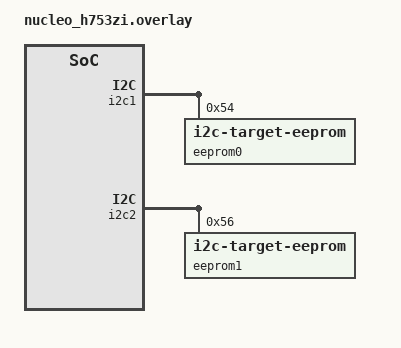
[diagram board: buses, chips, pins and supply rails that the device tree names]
/*
 * SPDX-License-Identifier: Apache-2.0
 *
 * Copyright (c) 2025 STMicroelectronics
 *
 */

/* I2C bus pins are exposed on the ST morpho header.
 *
 *  Bus        SDA               SCL
 *          Pin   Hdr         Pin   Hdr
 *  i2c1    PB9   CN7:4      PB8   CN7:2
 *  i2c2    PB11  CN10:34    PB10  CN10:32
 *
 * Short Pin PB9 to PB11, and PB8 to PB10, for the test to pass.
 */

#define IC2_TEST_0_DMA_TX <&dmamux1 2 34 (STM32_DMA_PERIPH_TX | STM32_DMA_PRIORITY_HIGH)>
#define IC2_TEST_0_DMA_RX <&dmamux1 1 33 (STM32_DMA_PERIPH_RX | STM32_DMA_PRIORITY_HIGH)>

i2c_test_0: &i2c1 {
	dmas = IC2_TEST_0_DMA_TX, IC2_TEST_0_DMA_RX;
	dma-names = "tx", "rx";

	eeprom0: eeprom@54 {
		compatible = "zephyr,i2c-target-eeprom";
		reg = <0x54>;
		size = <256>;
	};
};

#define IC2_TEST_1_DMA_TX <&dmamux1 4 36 (STM32_DMA_PERIPH_TX | STM32_DMA_PRIORITY_HIGH)>
#define IC2_TEST_1_DMA_RX <&dmamux1 3 35 (STM32_DMA_PERIPH_RX | STM32_DMA_PRIORITY_HIGH)>

i2c_test_1: &i2c2 {
	dmas = IC2_TEST_1_DMA_TX, IC2_TEST_1_DMA_RX;
	dma-names = "tx", "rx";

	eeprom1: eeprom@56 {
		compatible = "zephyr,i2c-target-eeprom";
		reg = <0x56>;
		size = <256>;
	};
};

&dma1 {
	status = "okay";
};

&dma2 {
	status = "okay";
};

&dmamux1 {
	status = "okay";
};
